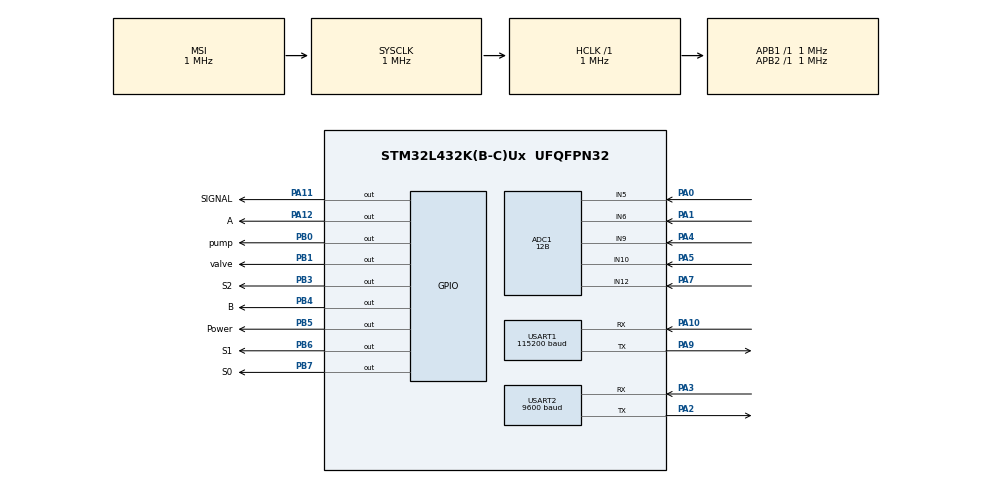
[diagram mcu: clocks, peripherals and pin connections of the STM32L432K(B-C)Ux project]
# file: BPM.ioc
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ADC1.Channel-2\#ChannelRegularConversion=ADC_CHANNEL_12
ADC1.Channel-3\#ChannelRegularConversion=ADC_CHANNEL_10
ADC1.Channel-4\#ChannelRegularConversion=ADC_CHANNEL_9
ADC1.Channel-5\#ChannelRegularConversion=ADC_CHANNEL_8
ADC1.Channel-6\#ChannelRegularConversion=ADC_CHANNEL_6
ADC1.Channel-7\#ChannelRegularConversion=ADC_CHANNEL_5
ADC1.ClockPrescaler=ADC_CLOCK_ASYNC_DIV1
ADC1.ContinuousConvMode=ENABLE
ADC1.DMAContinuousRequests=ENABLE
ADC1.EnableInjectedConversion=DISABLE
ADC1.NbrOfConversion=6
ADC1.NbrOfConversionFlag=1
ADC1.OffsetNumber-2\#ChannelRegularConversion=ADC_OFFSET_NONE
ADC1.OffsetNumber-3\#ChannelRegularConversion=ADC_OFFSET_NONE
ADC1.OffsetNumber-4\#ChannelRegularConversion=ADC_OFFSET_NONE
ADC1.OffsetNumber-5\#ChannelRegularConversion=ADC_OFFSET_NONE
ADC1.OffsetNumber-6\#ChannelRegularConversion=ADC_OFFSET_NONE
ADC1.OffsetNumber-7\#ChannelRegularConversion=ADC_OFFSET_NONE
ADC1.OversamplingMode=DISABLE
ADC1.Rank-2\#ChannelRegularConversion=1
ADC1.Rank-3\#ChannelRegularConversion=2
ADC1.Rank-4\#ChannelRegularConversion=3
ADC1.Rank-5\#ChannelRegularConversion=4
ADC1.Rank-6\#ChannelRegularConversion=5
ADC1.Rank-7\#ChannelRegularConversion=6
ADC1.Resolution=ADC_RESOLUTION_12B
ADC1.SamplingTime-2\#ChannelRegularConversion=ADC_SAMPLETIME_2CYCLES_5
ADC1.SamplingTime-3\#ChannelRegularConversion=ADC_SAMPLETIME_2CYCLES_5
ADC1.SamplingTime-4\#ChannelRegularConversion=ADC_SAMPLETIME_2CYCLES_5
ADC1.SamplingTime-5\#ChannelRegularConversion=ADC_SAMPLETIME_2CYCLES_5
ADC1.SamplingTime-6\#ChannelRegularConversion=ADC_SAMPLETIME_2CYCLES_5
ADC1.SamplingTime-7\#ChannelRegularConversion=ADC_SAMPLETIME_2CYCLES_5
ADC1.master=1
Dma.ADC1.0.Direction=DMA_PERIPH_TO_MEMORY
Dma.ADC1.0.Instance=DMA1_Channel1
Dma.ADC1.0.MemDataAlignment=DMA_MDATAALIGN_HALFWORD
Dma.ADC1.0.MemInc=DMA_MINC_ENABLE
Dma.ADC1.0.Mode=DMA_CIRCULAR
Dma.ADC1.0.PeriphDataAlignment=DMA_PDATAALIGN_HALFWORD
Dma.ADC1.0.PeriphInc=DMA_PINC_DISABLE
Dma.ADC1.0.Priority=DMA_PRIORITY_LOW
Dma.Request0=ADC1
Dma.Request1=USART1_RX
Dma.Request2=USART1_TX
Dma.Request3=USART2_TX
Dma.Request4=USART2_RX
Dma.USART1_RX.1.Direction=DMA_PERIPH_TO_MEMORY
Dma.USART1_RX.1.Instance=DMA1_Channel5
Dma.USART1_RX.1.MemDataAlignment=DMA_MDATAALIGN_BYTE
Dma.USART1_RX.1.MemInc=DMA_MINC_ENABLE
Dma.USART1_RX.1.Mode=DMA_CIRCULAR
Dma.USART1_RX.1.PeriphDataAlignment=DMA_PDATAALIGN_BYTE
Dma.USART1_RX.1.PeriphInc=DMA_PINC_DISABLE
Dma.USART1_RX.1.Priority=DMA_PRIORITY_LOW
Dma.USART1_TX.2.Direction=DMA_MEMORY_TO_PERIPH
Dma.USART1_TX.2.Instance=DMA1_Channel4
Dma.USART1_TX.2.MemDataAlignment=DMA_MDATAALIGN_BYTE
Dma.USART1_TX.2.MemInc=DMA_MINC_ENABLE
Dma.USART1_TX.2.Mode=DMA_CIRCULAR
Dma.USART1_TX.2.PeriphDataAlignment=DMA_PDATAALIGN_BYTE
Dma.USART1_TX.2.PeriphInc=DMA_PINC_DISABLE
Dma.USART1_TX.2.Priority=DMA_PRIORITY_LOW
Dma.USART2_RX.4.Direction=DMA_PERIPH_TO_MEMORY
Dma.USART2_RX.4.Instance=DMA1_Channel6
Dma.USART2_RX.4.MemDataAlignment=DMA_MDATAALIGN_BYTE
Dma.USART2_RX.4.MemInc=DMA_MINC_ENABLE
Dma.USART2_RX.4.Mode=DMA_CIRCULAR
Dma.USART2_RX.4.PeriphDataAlignment=DMA_PDATAALIGN_BYTE
Dma.USART2_RX.4.PeriphInc=DMA_PINC_DISABLE
Dma.USART2_RX.4.Priority=DMA_PRIORITY_LOW
Dma.USART2_TX.3.Direction=DMA_MEMORY_TO_PERIPH
Dma.USART2_TX.3.Instance=DMA1_Channel7
Dma.USART2_TX.3.MemDataAlignment=DMA_MDATAALIGN_BYTE
Dma.USART2_TX.3.MemInc=DMA_MINC_ENABLE
Dma.USART2_TX.3.Mode=DMA_CIRCULAR
Dma.USART2_TX.3.PeriphDataAlignment=DMA_PDATAALIGN_BYTE
Dma.USART2_TX.3.PeriphInc=DMA_PINC_DISABLE
Dma.USART2_TX.3.Priority=DMA_PRIORITY_LOW
FREERTOS.Tasks01=defaultTask,40,128,StartDefaultTask,Default,NULL,Dynamic,NULL,NULL;Error,8,128,alarms,Default,NULL,Dynamic,NULL,NULL
Mcu.Family=STM32L4
Mcu.Name=STM32L432K(B-C)Ux
Mcu.Package=UFQFPN32
NVIC.DMA1_Channel1_IRQn=true\:5\:0\:false\:false\:true\:true\:false\:true\:true
NVIC.DMA1_Channel4_IRQn=true\:5\:0\:false\:false\:true\:true\:false\:true\:true
NVIC.DMA1_Channel5_IRQn=true\:5\:0\:false\:false\:true\:true\:false\:true\:true
NVIC.DMA1_Channel6_IRQn=true\:5\:0\:false\:false\:true\:true\:false\:true\:true
NVIC.DMA1_Channel7_IRQn=true\:5\:0\:false\:false\:true\:true\:false\:true\:true
NVIC.PriorityGroup=NVIC_PRIORITYGROUP_4
NVIC.TIM6_DAC_IRQn=true\:15\:0\:false\:false\:true\:false\:false\:true\:true
NVIC.TimeBase=TIM6_DAC_IRQn
NVIC.TimeBaseIP=TIM6
PA0.Signal=ADCx_IN5
PA1.Signal=ADCx_IN6
PA10.Mode=Asynchronous
PA10.Signal=USART1_RX
PA11.GPIO_Label=SIGNAL
PA11.Signal=GPIO_Output
PA12.GPIO_Label=A
PA12.Signal=GPIO_Output
PA2.Mode=Asynchronous
PA2.Signal=USART2_TX
PA3.Mode=Asynchronous
PA3.Signal=USART2_RX
PA4.Signal=ADCx_IN9
PA5.Signal=ADCx_IN10
PA7.Signal=ADCx_IN12
PA9.Mode=Asynchronous
PA9.Signal=USART1_TX
PB0.GPIO_Label=pump
PB0.Signal=GPIO_Output
PB1.GPIO_Label=valve
PB1.Signal=GPIO_Output
PB3\ (JTDO-TRACESWO).GPIO_Label=S2
PB3\ (JTDO-TRACESWO).Signal=GPIO_Output
PB4\ (NJTRST).GPIO_Label=B
PB4\ (NJTRST).Signal=GPIO_Output
PB5.GPIO_Label=Power
PB5.Signal=GPIO_Output
PB6.GPIO_Label=S1
PB6.Signal=GPIO_Output
PB7.GPIO_Label=S0
PB7.Signal=GPIO_Output
ProjectManager.HeapSize=0x200
ProjectManager.StackSize=0x400
ProjectManager.TargetToolchain=MDK-ARM V5.32
RCC.ADCCLockSelection=RCC_ADCCLKSOURCE_SYSCLK
RCC.ADCFreq_Value=1000000
RCC.AHBFreq_Value=1000000
RCC.APB1Freq_Value=1000000
RCC.APB1TimFreq_Value=1000000
RCC.APB2Freq_Value=1000000
RCC.APB2TimFreq_Value=1000000
RCC.CortexFreq_Value=1000000
RCC.HCLKFreq_Value=1000000
RCC.HSE_VALUE=8000000
RCC.HSI48_VALUE=48000000
RCC.HSI_VALUE=16000000
RCC.LSE_VALUE=32768
RCC.MSIClockRange=RCC_MSIRANGE_4
RCC.MSI_VALUE=1000000
RCC.PLLSAI1N=21
RCC.PLLSAI1R=RCC_PLLR_DIV6
RCC.SYSCLKFreq_VALUE=1000000
RCC.USART1CLockSelection=RCC_USART1CLKSOURCE_HSI
RCC.USBFreq_Value=10500000
RCC.VCOOutputFreq_Value=8000000
SH.ADCx_IN10.0=ADC1_IN10,IN10-Single-Ended
SH.ADCx_IN12.0=ADC1_IN12,IN12-Single-Ended
SH.ADCx_IN5.0=ADC1_IN5,IN5-Single-Ended
SH.ADCx_IN6.0=ADC1_IN6,IN6-Single-Ended
SH.ADCx_IN9.0=ADC1_IN9,IN9-Single-Ended
USART1.BaudRate=115200
USART1.VirtualMode-Asynchronous=VM_ASYNC
USART2.BaudRate=9600
USART2.VirtualMode-Asynchronous=VM_ASYNC
VP_FREERTOS_VS_CMSIS_V2.Mode=CMSIS_V2
VP_SYS_VS_tim6.Mode=TIM6
board=custom

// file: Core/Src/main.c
/* USER CODE BEGIN Header */
/**
  ******************************************************************************
  * @file           : main.c
  * @brief          : Main program body
  ******************************************************************************
  * @attention
  *
  * Copyright (c) 2023 STMicroelectronics.
  * All rights reserved.
  *
  * This software is licensed under terms that can be found in the LICENSE file
  * in the root directory of this software component.
  * If no LICENSE file comes with this software, it is provided AS-IS.
  *
  ******************************************************************************
  */
/* USER CODE END Header */
#include "main.h"
#include "cmsis_os.h"

/* USER CODE BEGIN Includes */
#include "math.h"
#include "stdio.h"
#include <string.h>
#include <stdbool.h>
/* USER CODE END Includes */

/* USER CODE BEGIN PD */
#define adcbufflen 1000
#define adcbufffsrlen 1000

/* USER CODE END PD */

ADC_HandleTypeDef hadc1;
DMA_HandleTypeDef hdma_adc1;

UART_HandleTypeDef huart1;
UART_HandleTypeDef huart2;
DMA_HandleTypeDef hdma_usart1_rx;
DMA_HandleTypeDef hdma_usart1_tx;
DMA_HandleTypeDef hdma_usart2_tx;
DMA_HandleTypeDef hdma_usart2_rx;

/* Definitions for defaultTask */
osThreadId_t defaultTaskHandle;
const osThreadAttr_t defaultTask_attributes = {
  .name = "defaultTask",
  .stack_size = 128 * 4,
  .priority = (osPriority_t) osPriorityHigh,
};
/* Definitions for Error */
osThreadId_t ErrorHandle;
const osThreadAttr_t Error_attributes = {
  .name = "Error",
  .stack_size = 128 * 4,
  .priority = (osPriority_t) osPriorityLow,
};
/* USER CODE BEGIN PV */
volatile uint16_t adc_buf[adcbufflen];
volatile uint16_t adc_buf_fsr[adcbufffsrlen];
/* USER CODE END PV */

void SystemClock_Config(void);
static void MX_GPIO_Init(void);
static void MX_DMA_Init(void);
static void MX_ADC1_Init(void);
static void MX_USART1_UART_Init(void);
static void MX_USART2_UART_Init(void);
void StartDefaultTask(void *argument);
void alarms(void *argument);

/* USER CODE BEGIN PFP */
float increase_variable(float variable, float fac);
float decrease_variable(float variable, float fac);
float keep_variable_constant(float variable);
float algo(float rate, float process_var, float setpoint);

void IncreaseRate(void);
void DecreaseRate(void);
static void digits(void);
static void start(void);
void stop(void);
void clear(void);
void air(void);
void sens(void);
void stop_process(void);
void start_process(void);
//void detect_peaks_from_pressure_array(void);
//void floatToCharArray(float value, char* array);

/* USER CODE END PFP */

/* USER CODE BEGIN 0 */
uint8_t Cmd_End[3] = {0xFF,0xFF,0xFF};// command end sequence
char buf[]={"HELO WORLD"};
uint8_t rxbuf[9];
void NEXTION_SendVal (char *ID, int string)
{
	char buf[50];
	int len = sprintf (buf, "%s.val=%d", ID, string);
//	HAL_UART_Transmit(&huart1, (uint8_t *)buf, len, 1000);
//	HAL_UART_Transmit(&huart1, Cmd_End, 3, 100);
}
void NEXTION_ChangeScreen (int page)
{
	char buf[50];
	int len = sprintf (buf, "page %d", page);
//	HAL_UART_Transmit(&huart1, (uint8_t *)buf, len, 1000);
//	HAL_UART_Transmit(&huart1, Cmd_End, 3, 100);
}

volatile  uint32_t pressure;
float yn,yn1=0;

int pump_stop=0;
float xn[3]={0};
int	y[1000]={0};
int deflation = 0;
uint32_t pressure_plot;
float beta=0.1;
float peaks[1000]={0};
float peaks_diff[1000]={0};
float peaks2[500]={0};
float peaks_pressure[50]={0};
float pulse_time[50]={0};
int ind,k=0;
int new_val=0;
int map_ind=0;
int fstart=0;
float f1_avg,f2_avg,f3_avg,f4_avg=0;

int avg_pressure[2]={0};
float peak=0;
int tt1,tt2,ttime,rt1,rt2,error_wait1,error_wait2=0;
int map=0;
float map_amp,dia_amp,sys_amp=0;
float dia_peaks[200],sys_peaks[200]={0};
int sys_ind,dia_ind,sys,dia=0;
float peakplot=0;
int mapflag=0;
int pulse_rate=0;
int findSys(float array[], float val);
int findDia(float array[], float val);
float max(float x[],int n);
int error=0;
float peak_sensitivity=0.05;
int p_ind=0;
int temp = 0;
float difft=0;
int graph=0;
char print_pressure[3];
int beat=0;
int p_check=1;
int esnd = 0;
int test=0;

float rate = 0.0f;         // Initial rate value
float process_var = 0.0f;  // Initial process variable value
float setpoint = 70.0f;
float infusion = 0.0f;
int pre_inf = 0;
int inf = 0;

int bpdiff=0;
int prevsys=0;
float sensitivity=0;
float sensitivityavg=0;
int i=0;
double stepsize=0;
float dose=0;
float prevdose=0;
float dosediff=0;
int count=1;
char doseArray[5] = {0};
int length=0;
int n=0;
int val;
float t;
int bpArray[20];
float doses[20];
float sensitivityArray[20];
float sensitivityavgArray[20];
int p=0;
int  condition;
int pressureArray[1000];
int j=0;
uint8_t buffer[4] = {0x00,0xEB,0x02,0xED};
uint8_t digitbuff[14]={0x00,0xEB,0x01,0x00,0x00,0x00,0x00,0x00,0x00,0x09,0x6c,0x01,0x01,0xED};
uint8_t clearbuff[14]={0x00,0xEB,0x01,0x00,0x00,0x00,0x00,0x00,0x00,0x00,0x00,0x01,0x01,0xED};
int flowrateval;
int volumeval;
uint8_t rxbuff1[5];
uint8_t errorbuffer[4] = {0x00,0xEB,0x11,0xED};
int rf=0;
uint8_t iperror=0;
uint8_t volumebuff[8];
uint8_t volbuff[4]={0x00, 0xEB, 0x12, 0xED};
uint8_t buff[4];
int ab=0;
int cd=0;
float volume=0;
int q=0;

/* USER CODE END 0 */

int main(void)
{

  /* MCU Configuration--------------------------------------------------------*/

  /* Reset of all peripherals, Initializes the Flash interface and the Systick. */
  HAL_Init();

  /* Configure the system clock */
  SystemClock_Config();

  /* Initialize all configured peripherals */
  MX_GPIO_Init();
  MX_DMA_Init();
  MX_ADC1_Init();
  MX_USART1_UART_Init();
  MX_USART2_UART_Init();
  /* USER CODE BEGIN 2 */
	NEXTION_ChangeScreen(0);
	HAL_UART_Receive_DMA(&huart1,(uint8_t*) rxbuf, 9);
	osDelay(50);
	HAL_UART_Receive_DMA(&huart2,(uint8_t*) rxbuff1, 5);

	//IncreaseRate();
	//HAL_UART_Transmit(&huart1,(uint8_t*) buffer, 4, 100);

  /* USER CODE END 2 */

  /* Init scheduler */
  osKernelInitialize();

  /* Create the thread(s) */
  /* creation of defaultTask */
  defaultTaskHandle = osThreadNew(StartDefaultTask, NULL, &defaultTask_attributes);

  /* creation of Error */
  ErrorHandle = osThreadNew(alarms, NULL, &Error_attributes);

  /* Start scheduler */
  osKernelStart();

  /* We should never get here as control is now taken by the scheduler */

  /* Infinite loop */
  /* USER CODE BEGIN WHILE */

//	error_wait1=HAL_GetTick();
//	NEXTION_SendVal("sec",60);
//	while (error_wait2-error_wait1<60000)
//	{
//	error_wait2=HAL_GetTick();
//	//osDelay(10);
//	}
//
//	goto here;

  /* USER CODE END 3 */
}

void SystemClock_Config(void)
{
  RCC_OscInitTypeDef RCC_OscInitStruct = {0};
  RCC_ClkInitTypeDef RCC_ClkInitStruct = {0};

  /** Configure the main internal regulator output voltage
  */
  if (HAL_PWREx_ControlVoltageScaling(PWR_REGULATOR_VOLTAGE_SCALE1) != HAL_OK)
  {
    Error_Handler();
  }

  /** Initializes the RCC Oscillators according to the specified parameters
  * in the RCC_OscInitTypeDef structure.
  */
  RCC_OscInitStruct.OscillatorType = RCC_OSCILLATORTYPE_HSI|RCC_OSCILLATORTYPE_MSI;
  RCC_OscInitStruct.HSIState = RCC_HSI_ON;
  RCC_OscInitStruct.HSICalibrationValue = RCC_HSICALIBRATION_DEFAULT;
  RCC_OscInitStruct.MSIState = RCC_MSI_ON;
  RCC_OscInitStruct.MSICalibrationValue = 0;
  RCC_OscInitStruct.MSIClockRange = RCC_MSIRANGE_4;
  RCC_OscInitStruct.PLL.PLLState = RCC_PLL_NONE;
  if (HAL_RCC_OscConfig(&RCC_OscInitStruct) != HAL_OK)
  {
    Error_Handler();
  }

  /** Initializes the CPU, AHB and APB buses clocks
  */
  RCC_ClkInitStruct.ClockType = RCC_CLOCKTYPE_HCLK|RCC_CLOCKTYPE_SYSCLK
                              |RCC_CLOCKTYPE_PCLK1|RCC_CLOCKTYPE_PCLK2;
  RCC_ClkInitStruct.SYSCLKSource = RCC_SYSCLKSOURCE_MSI;
  RCC_ClkInitStruct.AHBCLKDivider = RCC_SYSCLK_DIV1;
  RCC_ClkInitStruct.APB1CLKDivider = RCC_HCLK_DIV1;
  RCC_ClkInitStruct.APB2CLKDivider = RCC_HCLK_DIV1;

  if (HAL_RCC_ClockConfig(&RCC_ClkInitStruct, FLASH_LATENCY_0) != HAL_OK)
  {
    Error_Handler();
  }
}

static void MX_ADC1_Init(void)
{

  ADC_ChannelConfTypeDef sConfig = {0};

  /** Common config
  */
  if (p_check==1){

  hadc1.Instance = ADC1;
  hadc1.Init.ClockPrescaler = ADC_CLOCK_ASYNC_DIV1;
  hadc1.Init.Resolution = ADC_RESOLUTION_10B;
  hadc1.Init.DataAlign = ADC_DATAALIGN_RIGHT;
  hadc1.Init.ScanConvMode = ADC_SCAN_ENABLE;
  hadc1.Init.EOCSelection = ADC_EOC_SINGLE_CONV;
  hadc1.Init.LowPowerAutoWait = DISABLE;
  hadc1.Init.ContinuousConvMode = ENABLE;
  hadc1.Init.NbrOfConversion = 4;
  hadc1.Init.DiscontinuousConvMode = DISABLE;
  hadc1.Init.ExternalTrigConv = ADC_SOFTWARE_START;
  hadc1.Init.ExternalTrigConvEdge = ADC_EXTERNALTRIGCONVEDGE_NONE;
  hadc1.Init.DMAContinuousRequests = ENABLE;
  hadc1.Init.Overrun = ADC_OVR_DATA_PRESERVED;
  hadc1.Init.OversamplingMode = DISABLE;
  if (HAL_ADC_Init(&hadc1) != HAL_OK)
  {
    Error_Handler();
  }

  /** Configure Regular Channel
  */
  sConfig.Channel = ADC_CHANNEL_10;
  sConfig.Rank = ADC_REGULAR_RANK_4;
  if (HAL_ADC_ConfigChannel(&hadc1, &sConfig) != HAL_OK)
  {
    Error_Handler();
  }

  /** Configure Regular Channel
  */
  sConfig.Channel = ADC_CHANNEL_9;
  sConfig.Rank = ADC_REGULAR_RANK_2;
  if (HAL_ADC_ConfigChannel(&hadc1, &sConfig) != HAL_OK)
  {
    Error_Handler();
  }

  /** Configure Regular Channel
  */
  sConfig.Channel = ADC_CHANNEL_5;
  sConfig.Rank = ADC_REGULAR_RANK_1;
  if (HAL_ADC_ConfigChannel(&hadc1, &sConfig) != HAL_OK)
  {
    Error_Handler();
  }

  /** Configure Regular Channel
  */
  sConfig.Channel = ADC_CHANNEL_6;
  sConfig.Rank = ADC_REGULAR_RANK_3;
  if (HAL_ADC_ConfigChannel(&hadc1, &sConfig) != HAL_OK)
  {
    Error_Handler();
  }

}
	else {

	hadc1.Instance = ADC1;
  hadc1.Init.ClockPrescaler = ADC_CLOCK_ASYNC_DIV1;
  hadc1.Init.Resolution = ADC_RESOLUTION_12B;
  hadc1.Init.DataAlign = ADC_DATAALIGN_RIGHT;
  hadc1.Init.ScanConvMode = ADC_SCAN_ENABLE;
  hadc1.Init.EOCSelection = ADC_EOC_SINGLE_CONV;
  hadc1.Init.LowPowerAutoWait = DISABLE;
  hadc1.Init.ContinuousConvMode = ENABLE;
  hadc1.Init.NbrOfConversion = 1;
  hadc1.Init.DiscontinuousConvMode = DISABLE;
  hadc1.Init.ExternalTrigConv = ADC_SOFTWARE_START;
  hadc1.Init.ExternalTrigConvEdge = ADC_EXTERNALTRIGCONVEDGE_NONE;
  hadc1.Init.DMAContinuousRequests = ENABLE;
  hadc1.Init.Overrun = ADC_OVR_DATA_PRESERVED;
  hadc1.Init.OversamplingMode = DISABLE;
  if (HAL_ADC_Init(&hadc1) != HAL_OK)
  {
    Error_Handler();
  }

	 /** Configure Regular Channel
  */
  sConfig.Channel = ADC_CHANNEL_12;
  sConfig.Rank = ADC_REGULAR_RANK_1;
  sConfig.SamplingTime = ADC_SAMPLETIME_2CYCLES_5;
  sConfig.SingleDiff = ADC_SINGLE_ENDED;
  sConfig.OffsetNumber = ADC_OFFSET_NONE;
  sConfig.Offset = 0;
  if (HAL_ADC_ConfigChannel(&hadc1, &sConfig) != HAL_OK)
  {
    Error_Handler();
  }

	}
}

static void MX_USART1_UART_Init(void)
{

  huart1.Instance = USART1;
  huart1.Init.BaudRate = 115200;
  huart1.Init.WordLength = UART_WORDLENGTH_8B;
  huart1.Init.StopBits = UART_STOPBITS_1;
  huart1.Init.Parity = UART_PARITY_NONE;
  huart1.Init.Mode = UART_MODE_TX_RX;
  huart1.Init.HwFlowCtl = UART_HWCONTROL_NONE;
  huart1.Init.OverSampling = UART_OVERSAMPLING_16;
  huart1.Init.OneBitSampling = UART_ONE_BIT_SAMPLE_DISABLE;
  huart1.AdvancedInit.AdvFeatureInit = UART_ADVFEATURE_NO_INIT;
  if (HAL_UART_Init(&huart1) != HAL_OK)
  {
    Error_Handler();
  }

}

static void MX_USART2_UART_Init(void)
{

  huart2.Instance = USART2;
  huart2.Init.BaudRate = 9600;
  huart2.Init.WordLength = UART_WORDLENGTH_8B;
  huart2.Init.StopBits = UART_STOPBITS_1;
  huart2.Init.Parity = UART_PARITY_NONE;
  huart2.Init.Mode = UART_MODE_TX_RX;
  huart2.Init.HwFlowCtl = UART_HWCONTROL_NONE;
  huart2.Init.OverSampling = UART_OVERSAMPLING_16;
  huart2.Init.OneBitSampling = UART_ONE_BIT_SAMPLE_DISABLE;
  huart2.AdvancedInit.AdvFeatureInit = UART_ADVFEATURE_NO_INIT;
  if (HAL_UART_Init(&huart2) != HAL_OK)
  {
    Error_Handler();
  }

}

static void MX_DMA_Init(void)
{

  /* DMA controller clock enable */
  __HAL_RCC_DMA1_CLK_ENABLE();

  /* DMA interrupt init */
  /* DMA1_Channel1_IRQn interrupt configuration */
  HAL_NVIC_SetPriority(DMA1_Channel1_IRQn, 5, 0);
  HAL_NVIC_EnableIRQ(DMA1_Channel1_IRQn);
  /* DMA1_Channel4_IRQn interrupt configuration */
  HAL_NVIC_SetPriority(DMA1_Channel4_IRQn, 5, 0);
  HAL_NVIC_EnableIRQ(DMA1_Channel4_IRQn);
  /* DMA1_Channel5_IRQn interrupt configuration */
  HAL_NVIC_SetPriority(DMA1_Channel5_IRQn, 5, 0);
  HAL_NVIC_EnableIRQ(DMA1_Channel5_IRQn);
  /* DMA1_Channel6_IRQn interrupt configuration */
  HAL_NVIC_SetPriority(DMA1_Channel6_IRQn, 5, 0);
  HAL_NVIC_EnableIRQ(DMA1_Channel6_IRQn);
  /* DMA1_Channel7_IRQn interrupt configuration */
  HAL_NVIC_SetPriority(DMA1_Channel7_IRQn, 5, 0);
  HAL_NVIC_EnableIRQ(DMA1_Channel7_IRQn);

}

static void MX_GPIO_Init(void)
{
  GPIO_InitTypeDef GPIO_InitStruct = {0};

  /* GPIO Ports Clock Enable */
  __HAL_RCC_GPIOA_CLK_ENABLE();
  __HAL_RCC_GPIOB_CLK_ENABLE();

  /*Configure GPIO pin Output Level */
  HAL_GPIO_WritePin(GPIOB, pump_Pin|valve_Pin|S2_Pin|B_Pin
                          |Power_Pin|S1_Pin|S0_Pin, GPIO_PIN_RESET);

  /*Configure GPIO pin Output Level */
  HAL_GPIO_WritePin(GPIOA, SIGNAL_Pin|A_Pin, GPIO_PIN_RESET);

  /*Configure GPIO pins : pump_Pin valve_Pin S2_Pin B_Pin
                           Power_Pin S1_Pin S0_Pin */
  GPIO_InitStruct.Pin = pump_Pin|valve_Pin|S2_Pin|B_Pin
                          |Power_Pin|S1_Pin|S0_Pin;
  GPIO_InitStruct.Mode = GPIO_MODE_OUTPUT_PP;
  GPIO_InitStruct.Pull = GPIO_NOPULL;
  GPIO_InitStruct.Speed = GPIO_SPEED_FREQ_LOW;
  HAL_GPIO_Init(GPIOB, &GPIO_InitStruct);

  /*Configure GPIO pins : SIGNAL_Pin A_Pin */
  GPIO_InitStruct.Pin = SIGNAL_Pin|A_Pin;
  GPIO_InitStruct.Mode = GPIO_MODE_OUTPUT_PP;
  GPIO_InitStruct.Pull = GPIO_NOPULL;
  GPIO_InitStruct.Speed = GPIO_SPEED_FREQ_LOW;
  HAL_GPIO_Init(GPIOA, &GPIO_InitStruct);

}

/* USER CODE BEGIN 4 */
void sens(){
	dosediff=dose-prevdose;
					prevdose=dose;
			if ((bpdiff>0)&&(dosediff>0)&&(dosediff<bpdiff)){
				if (count<=4)
				{
					sensitivity=100-((dosediff)/(bpdiff))*100;
					if(count==1){
					sensitivityavg= sensitivity;
					}
					else
					{
						sensitivityavg=(sensitivityavg+sensitivity)/2;
				}
					sensitivityArray[count]=sensitivity;
				sensitivityavgArray[count]=sensitivityavg;
					count++;
			}

		}
}
int findSys(float array[], float val){

	int p;
	float closest=0;
	float diff=0;
	diff=	val-array[0];
	closest=diff;
	for (int i=0;i<=map_ind;i++){
	diff=	val-array[i];
	if (diff>0 && diff < closest){
		closest=diff;
		p=i;
		}
	}

return p;
}
int findDia(float array[], float val) {
    int di = p_ind / 2;  // start from last peak
    float closest = fabs(array[di] - val);
    float threshold = 0.35;  // or adjust to 0.3 for more sensitivity

    for (int i = map_ind + 1; i < p_ind / 2; i++) {
        // Look for where amplitude falls below threshold * max (val = dia_amp)
        if (array[i] < threshold * val) {
            // Additionally, confirm next few points are also below to avoid noise
            if (array[i + 1] < threshold * val && array[i + 2] < threshold * val) {
                return i;
            }
        }
    }

    // Fallback to previous logic
    for (int i = p_ind / 2; i >= map_ind + 1; i--) {
        float diff = fabs(array[i] - val);
        if (diff < closest) {
            closest = diff;
            di = i;
        }
    }

    return di;
}
void HAL_UART_RxCpltCallback(UART_HandleTypeDef *huart)
{
    if (huart->Instance == USART2)
    {
			if(rf==0){
        iperror = rxbuff1[3];
        // Process the value as needed
			}
			else
			{
			        iperror = rxbuff1[3];

			}

			}
}
//int findDia(float array[], float val){

//	int di = 0;
//	difft = 0;
//	float closest =	fabs(array[p_ind/2]-val);

//	for (int i=p_ind/2 ; i>=map_ind+1 ; i--)

//	{
//		difft = fabs(array[i]-val);
//		if(difft <= closest)
//		{
//			di = i;
//			closest = difft;
//		}
//		else closest = closest;
//		difft = 0;
//	}
//	return di;
//
//}

//float max(float x[],int n)
//{
////	float t;
//	t=x[0];
//	if (map_ind ==0){
//	for(int i=0;i<n;i++)
//        {
//		if(x[i]>t){
//			t=x[i];
//			map_ind=i;
//		}
//	}
//
//}
//return(t);
//}
float max(float x[],int n)
{
//	float t;

	t=x[0];
	for(int i=0;i<n;i++)
        {
		if(x[i]>t&& t!=0&&x[i]!=0){
			t=x[i];
			map_ind=i;
		}
	}

return(t);
}

void IncreaseRate(void)
{
    if (dose <= 32)
    {
        dose=dose+stepsize;

    }
		else{
			dose=dose;
		}
		snprintf(doseArray, 5, "%.1f", dose);
		length=strlen(doseArray);
		stop();
		osDelay(1000);
		clear();
		osDelay(1000);
		digits();
		osDelay(1000);
		start();

		//HAL_Delay(5000);
//		if(iperror=='0x07'){
//		air();
//			ab++;
//		}

//
//		return dose;
//
}

// Function to decrease infusion rate
void DecreaseRate(void)
{
    if (dose >= 3)
    {
        dose=dose+stepsize;

    }
		else{
		dose=dose;
		}
		snprintf(doseArray, 5, "%.1f", dose);
		length=strlen(doseArray);
		stop();
		osDelay(500);
		clear();
		osDelay(500);
		digits();
		osDelay(500);
		start();
}

/*
INFUSION RATE FUNCTIONS
----------------------------------------------------------------
*/void digits(){
flowrateval=dose*10;
					digitbuff[3] = (flowrateval >> 24) & 0xFF; // Most significant byte
					digitbuff[4] = (flowrateval >> 16) & 0xFF;
					digitbuff[5] = (flowrateval >> 8) & 0xFF;
					digitbuff[6] = flowrateval & 0xFF;
	HAL_UART_Transmit(&huart2,(uint8_t *)digitbuff,sizeof(digitbuff),100);

}
void air(){
buffer[0]=0x00;
buffer[1]=0xEB;
buffer[2]=0x04;
buffer[3]=0xED;
	HAL_UART_Transmit(&huart2,(uint8_t *)buffer,sizeof(buffer),100);
}
void stop_process(){

}
void start_process(){

}
void start(){
buffer[0]=0x00;
buffer[1]=0xEB;
buffer[2]=0x02;
buffer[3]=0xED;
	HAL_UART_Transmit(&huart2,(uint8_t *)buffer,sizeof(buffer),100);
	rf=1;

	memset(rxbuff1,0 , sizeof(rxbuff1));
}
void stop(){
buffer[0]=0x00;
buffer[1]=0xEB;
buffer[2]=0x03;
buffer[3]=0xED;
HAL_UART_Transmit(&huart2,(uint8_t *)buffer,sizeof(buffer),100);
}
	void clear(){
	HAL_UART_Transmit(&huart2,(uint8_t *)clearbuff,sizeof(clearbuff),100);
	}
float increase_variable(float variable, float fac) {
    return variable + fac;
}

float decrease_variable(float variable, float fac) {
    return variable - fac;
}

float keep_variable_constant(float variable) {
    return variable;
}

float algo(float rate, float process_var, float setpoint) {
    // Find error
    float error = process_var - setpoint;

    // Threshold error condition
    if (error < 20) {
        if (-5 < error && error < 5) {  // if bp within +/- 5 mmHg
            rate = keep_variable_constant(rate);
        } else if (error > 5) {
            rate = increase_variable(rate, 2);
        } else if (error < -5) {
            rate = decrease_variable(rate, 2);
        }
    } else {
        rate = increase_variable(rate, 2);
    }

    return rate;
}

/*
----------------------------------------------------------------
*/

void HAL_ADC_ConvCpltCallback(ADC_HandleTypeDef* hadc){

if(p_check==1)
{
	float f1,f2,f3,f4 = 0;
	for(int i=0;i<adcbufffsrlen;i=i+4)
	{
		f1 += adc_buf_fsr[i];
		f2 += adc_buf_fsr[i+1];
		f3 += adc_buf_fsr[i+2];
		f4 += adc_buf_fsr[i+3];
	}
		f1_avg = f1/(adcbufffsrlen/4);
		f2_avg = f2/(adcbufffsrlen/4);
		f3_avg = f3/(adcbufffsrlen/4);
		f4_avg = f4/(adcbufffsrlen/4);

}
else
{
	int sum = 0;

	for (int i=0;i<adcbufflen;i++){
      		sum+= adc_buf[i];
		}

	 avg_pressure[1] = sum/adcbufflen;

 	//if (avg_pressure[1]!=avg_pressure[0]){
//		if (avg_pressure[1]<=264) pressure=(0.0745*avg_pressure[1])-11.7004;
//		else pressure = 164.474 - 1.887*avg_pressure[1] + 0.00598828*pow(avg_pressure[1],2);
////
		pressure=(0.0745*avg_pressure[1])-11.7004;
	avg_pressure[0]=avg_pressure[1];

		yn = ((1-0.01)*pressure)+(0.01*yn1);
		yn1 = yn;

	if(deflation == 1)
		{
			int val = (int)(yn*100)%100;
			if(val>0 && val<=25) temp = (((int)yn)*100)+25;
			else if(val>25 && val<=50) temp = (((int)yn)*100)+50;
			else if(val>50 && val<=75) temp = (((int)yn)*100)+75;
			else if(val>75 && val<100) temp = (((int)yn)*100)+100;
			yn = temp;

			if(y[ind]!=(int)yn && ind<1000 )
				{
					ind++;
					y[ind] = (int)yn;
					graph=y[ind];

					if(ind>4 && ((y[ind-2]>=y[ind-3] && y[ind-2]>y[ind-1]) || (y[ind-2]<y[ind-3] && y[ind-2]<=y[ind-1])))
						{
							peaks[p_ind] = y[ind-2];
							peak=y[ind-2];
							NEXTION_SendVal("beat",1);
							if (p_ind%2 == 1){
								peaks_diff[p_ind/2]=(peaks[p_ind]-peaks[p_ind-1])/100;
								pulse_time[p_ind/2]=HAL_GetTick();
							}

							p_ind++;

						}

//
//    ind++;
//    y[ind] = (int)yn;
//    graph = y[ind];

//    if (ind >= 4) {
//        int prev2 = y[ind - 3];
//        int prev1 = y[ind - 2];
//        int curr  = y[ind - 1];
//        int next  = y[ind];

//        // Only detect peak if itТs a local maximum AND above noise threshold
//        if (prev1 > prev2 && prev1 > curr && prev1 > 80) {
//            peaks[p_ind] = prev1;
//            peak = prev1;
//            NEXTION_SendVal("beat", 1);

//            if (p_ind % 2 == 1) {
//                peaks_diff[p_ind / 2] = (peaks[p_ind] - peaks[p_ind - 1]) / 100.0;
//                pulse_time[p_ind / 2] = HAL_GetTick();
//            }

//            p_ind++;
//        }
//    }

//					if (ind > 4)
//{
//    int prev = y[ind - 3];
//    int curr = y[ind - 2];
//    int next = y[ind - 1];

//    // Detect local maxima only (peak)
//    if (curr > prev && curr > next && curr > 100)
//    {
//        peaks[p_ind] = curr;
//        peak = curr;
//        NEXTION_SendVal("beat", 1);

//        if (p_ind % 2 == 1)
//        {
//            peaks_diff[p_ind / 2] = (peaks[p_ind] - peaks[p_ind - 1]) / 100;
//            pulse_time[p_ind / 2] = HAL_GetTick();
//        }

//        p_ind++;
//    }
//}
				}
		}
	}
}

/* USER CODE END 4 */

void StartDefaultTask(void *argument)
{
  /* USER CODE BEGIN 5 */
  /* Infinite loop */
  for(;;)
  {
		memset(rxbuff1,0,sizeof(rxbuff1));
		rf=0;
		HAL_UART_Transmit(&huart2,(uint8_t*)errorbuffer, 4,100);
		HAL_Delay(2000);
		if(iperror==0 ||iperror==1){
		mapflag=0;
		sys=0;
		dia=0;
		pressure=0;
		error=0;
		deflation=0;
		p_ind=0;
		pulse_rate=0;
		dia_ind=0;
		map=0;
		map_ind=0;
		ind=0;
		p_check=1;
		condition=0;
		i=0;
	HAL_GPIO_WritePin(GPIOA,GPIO_PIN_11,0);
	MX_ADC1_Init();
	HAL_ADC_Start_DMA(&hadc1,(uint32_t*)adc_buf_fsr,adcbufffsrlen);
	osDelay(100);

	while(p_check==1)
	{
//		if(f1_avg<600 && f2_avg<550 && f3_avg <410 && f4_avg<300)
		//	if(f1_avg650 && f2_avg<550 && f3_avg <410)
		if(f1_avg<510 && f2_avg<510 && f3_avg<300)
		{
		p_check=0;
		//p_check=1;
			osDelay(100);
		}

			osDelay(100);

		if (esnd==0 && p_check==1)
		{
				NEXTION_ChangeScreen(3);
				error=5;
				osDelay(100);
				NEXTION_SendVal("error",error);
				esnd=1;

		}

	}

	error=0;
	esnd=0;
	HAL_GPIO_WritePin(GPIOB,pump_Pin, GPIO_PIN_SET);
	HAL_GPIO_WritePin(GPIOB,valve_Pin, GPIO_PIN_SET);
	rt1=HAL_GetTick();
	NEXTION_ChangeScreen(1);

	HAL_ADC_Stop_DMA(&hadc1);
	MX_ADC1_Init();
	HAL_ADC_Start_DMA(&hadc1,(uint32_t*)adc_buf,adcbufflen);
	 while (p_check==0)
  {

    /* USER CODE BEGIN 3 */

				rt2=HAL_GetTick();

		if (rt2-rt1>5000 && pressure<20)
		{
			HAL_GPIO_WritePin(GPIOB,pump_Pin, GPIO_PIN_RESET);
			HAL_ADC_Stop_DMA(&hadc1);
			HAL_GPIO_WritePin(GPIOB,valve_Pin, GPIO_PIN_RESET);
			NEXTION_ChangeScreen(3);
			error=1;
			osDelay(500);
			NEXTION_SendVal("error",error);
		}

		if (error > 0) break;

		while(deflation==0){
		if(pressure>140&&deflation==0){
					HAL_GPIO_WritePin(GPIOB,pump_Pin, GPIO_PIN_RESET);
		osDelay(50);
			deflation=1;
		}
		if(deflation==1){
		while(pressure>=135){

		}}
		if(p_ind>=1){
			p_ind=0;
		deflation=0;
			memset(peaks,0,sizeof(peaks));
			memset(peaks_diff,0,sizeof(peaks_diff));
			memset(pulse_time,0,sizeof(pulse_time));
				HAL_GPIO_WritePin(GPIOB,pump_Pin, GPIO_PIN_SET);
			while(pressure<180){

			}

					HAL_GPIO_WritePin(GPIOB,pump_Pin, GPIO_PIN_RESET);
		osDelay(50);
			deflation=1;
		}
		if(deflation==1){

			while(pressure>=175){

		}}
		if(p_ind>=1){
			p_ind=0;
		deflation=0;
			memset(peaks,0,sizeof(peaks));
			memset(peaks_diff,0,sizeof(peaks_diff));
			memset(pulse_time,0,sizeof(pulse_time));
				HAL_GPIO_WritePin(GPIOB,pump_Pin, GPIO_PIN_SET);
			while(pressure<220){

			}

					HAL_GPIO_WritePin(GPIOB,pump_Pin, GPIO_PIN_RESET);
		osDelay(50);
			deflation=1;
		}
				if(deflation==1){
		while(pressure>=215){

		}}
		if(p_ind>=1){
			p_ind=0;
		deflation=0;
			memset(peaks,0,sizeof(peaks));
			memset(peaks_diff,0,sizeof(peaks_diff));
			memset(pulse_time,0,sizeof(pulse_time));
				HAL_GPIO_WritePin(GPIOB,pump_Pin, GPIO_PIN_SET);
			while(pressure<260){

			}

					HAL_GPIO_WritePin(GPIOB,pump_Pin, GPIO_PIN_RESET);
		osDelay(50);
			deflation=1;
		}
		if(deflation==1){
		while(pressure>=255){

		}}
		if(p_ind>=5){
			p_ind=0;
		deflation=0;
			memset(peaks,0,sizeof(peaks));
			memset(peaks_diff,0,sizeof(peaks_diff));
			memset(pulse_time,0,sizeof(pulse_time));
				HAL_GPIO_WritePin(GPIOB,pump_Pin, GPIO_PIN_SET);
			while(pressure<290){

			}

					HAL_GPIO_WritePin(GPIOB,pump_Pin, GPIO_PIN_RESET);
		osDelay(50);
			deflation=1;
		}
		}

	//	pressure_plot = xn[2];

		NEXTION_SendVal("pressure",pressure);
		if (deflation == 1)
		{

		if(i<1000){
			pressureArray[i]=pressure;
			}
			i++;

			if (pressure<=60 && mapflag == 0)
			{
				HAL_ADC_Stop_DMA(&hadc1);
				HAL_GPIO_WritePin(GPIOB,valve_Pin, GPIO_PIN_RESET);
		//	detect_peaks_from_pressure_array();  // <

				if (p_ind<2)
				{
					NEXTION_ChangeScreen(3);
					error=2;
					osDelay(500);
					NEXTION_SendVal("error",error);
					break;
				}
				if(p_ind<25){

			map_amp=max(peaks_diff,10);
			map=peaks[map_ind*2]/100;
				}
			else{
			map_amp=max(peaks_diff,30);
			map=peaks[map_ind*2]/100;
			}																															/*  infusion  */
			pre_inf = algo(infusion, map, 40);
      inf += pre_inf;
      if (inf < 0){
       inf = 0;
			}
			for(int i=6;i<1000;i++){
			if(pressureArray[i]>pressureArray[i-1]+5){
			condition=1;
			}
			}
//				if (peaks_diff[(p_ind/2)-1]>=4  ||(p_ind/2)- map_ind <=2 || (p_ind/2)- map_ind >=(p_ind/2)-1 || condition==1 )
			//	if (peaks_diff[(p_ind/2)-1]>=4  ||(p_ind/2)- map_ind <2 || (p_ind/2)- map_ind >=(p_ind/2)-1 || condition==1 )
if ( condition==1 )

				{
					NEXTION_ChangeScreen(3);
					error=4;
					osDelay(500);
					NEXTION_SendVal("error",error);
					break;
				}

			dia_amp=map_amp*0.6; //0.90
			sys_amp=map_amp*0.20; // 0.25

			sys_ind=findSys(peaks_diff,sys_amp);
			dia_ind=findDia(peaks_diff,dia_amp);

			pulse_rate = (60*((p_ind/2)-1))/((pulse_time[((p_ind/2)-1)]-pulse_time[1])/1000)/2;  // time difference between sys and dia beats//no of beats = dia_ind
//			pulse_rate = (60*((p_ind/2)-1))/((pulse_time[(map_ind)]-pulse_time[1])/1000);
			sys=peaks[3]/100;
			dia=peaks[dia_ind*2]/100;
							//dia=(3*map-(sys))/2;
			if (dia>sys || dia<= 30 || sys>=300 || pulse_rate <=35 || pulse_rate >=160 )
			{
				NEXTION_ChangeScreen(3);
				error=3;
				osDelay(500);
				NEXTION_SendVal("error",error);
				break;
			}

			NEXTION_ChangeScreen (1);
			NEXTION_SendVal("sys",sys);
			NEXTION_SendVal("dia",dia);
			NEXTION_SendVal("bpm",pulse_rate);
			q=1;
			HAL_UART_DMAStop(&huart2);

      // Clear receive buffer
      memset(buff, 0, sizeof(buff));

      // Restart UART DMA reception from index 0
      HAL_UART_Receive_DMA(&huart2, buff, sizeof(buff));
			if (j==0)
			{

				prevsys=sys;
				stepsize=60;
				IncreaseRate();
				prevdose=dose;
				sensitivity=0;
				sensitivityavg=0;
				j++;

				osDelay(100000);

			}
			//
			else
			{
					//calculation of sensitivity and sensitivity average
					bpdiff=prevsys-sys;
					prevsys=sys;

				//time and dose increament w.r.t BP
			if (sys>=180)
			{
				stepsize=3;
				IncreaseRate();
				sens();
				osDelay(30000);
			}
			else if (sys>=165 && sys<180)
			{
				stepsize=2.5;
				IncreaseRate();
				sens();
				osDelay(30000);
			}
			else if(sys>=145 && sys<165)
			{
				stepsize=2;
				IncreaseRate();
				sens();
				osDelay(30000);
			}
			else if( sys>=130 && sys<145)
			{
				stepsize=1;
				IncreaseRate();
				sens();
				osDelay(30000);
			}
			else if( sys>=100 && sys<130)
			{
				stepsize=3;

				IncreaseRate();
				rf=1;
				sens();
				osDelay(30000);
			}
			else if (sys>=0 && sys<100)
			{
				if (sensitivityavg>80)
				{
					stepsize=-3;
					DecreaseRate();
			osDelay(30000);
			}
				else if(sensitivityavg>=60 && sensitivityavg<80)
				{
					stepsize=-2;
					DecreaseRate();
				osDelay(30000);
				}
				else if(sensitivityavg >=40 && sensitivityavg<60)
				{
					stepsize=-1;
				DecreaseRate();
			osDelay(30000);
				}
				else
				{
					stepsize=-0.5;
				DecreaseRate();
			osDelay(30000);
			}
				}
			// sensitivity portion
				dosediff=dose-prevdose;
					prevdose=dose;
			if ((bpdiff>0)&&(dosediff>0)&&(dosediff<bpdiff)){
				if (count<=4)
				{
					sensitivity=100-((dosediff)/(bpdiff))*100;
					if(count==1){
					sensitivityavg= sensitivity;
					}
					else
					{
						sensitivityavg=(sensitivityavg+sensitivity)/2;
				}
					sensitivityArray[count]=sensitivity;
				sensitivityavgArray[count]=sensitivityavg;
					count++;
			}

		}
	}

	if(p<20){
	bpArray[p]=sys;
		doses[p]=dose;
		p++;
	}
			deflation=0;
			mapflag = 1;
			p_check=1;
//			osDelay(30000);

		}
	}

	osDelay(50);

  }
}
	osDelay(2500);
}
  }
  /* USER CODE END 3 */

void alarms(void *argument)
{
  /* USER CODE BEGIN alarms */
  /* Infinite loop */
  for(;;)
  {
		if (rf==1){

			//memset(rxbuff1,0,sizeof(rxbuff1));
		HAL_UART_Transmit(&huart2,(uint8_t*)errorbuffer,4,100);
			HAL_UART_DMAStop(&huart2);

      // Clear receive buffer
      memset(rxbuff1, 0, sizeof(rxbuff1));

      // Restart UART DMA reception from index 0
      HAL_UART_Receive_DMA(&huart2, rxbuff1, sizeof(rxbuff1));
			osDelay(5000);
				if(iperror==7&&cd==0){
					stop();
					HAL_Delay(2000);
			air();
					cd=1;
				ab++;
			}
				HAL_UART_Transmit(&huart2,(uint8_t*)volbuff,4,100);
			HAL_UART_DMAStop(&huart2);

      // Clear receive buffer
      memset(volumebuff, 0, sizeof(volumebuff));

      // Restart UART DMA reception from index 0
      HAL_UART_Receive_DMA(&huart2, volumebuff, sizeof(volumebuff));
			osDelay(500);
			volume = (volumebuff[3] << 24) |
         (volumebuff[4] << 16) |
         (volumebuff[5] << 8)  |
         (volumebuff[6]);

// Divide by 10 to get the actual volume value (since it's multiplied by 10)
						volume = volume / 10;
		}
    osDelay(1);
  }
  /* USER CODE END alarms */
}

void HAL_TIM_PeriodElapsedCallback(TIM_HandleTypeDef *htim)
{
  if (htim->Instance == TIM6) {
    HAL_IncTick();
  }
}

void Error_Handler(void)
{
  __disable_irq();
  while (1)
  {
  }
}
